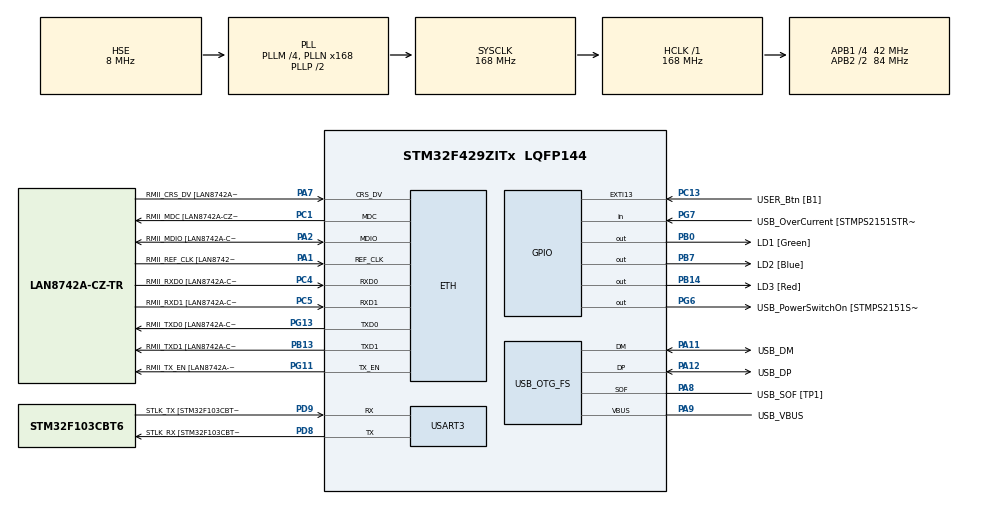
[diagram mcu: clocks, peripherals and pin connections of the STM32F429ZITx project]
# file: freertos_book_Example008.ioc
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ETH.MediaInterface=HAL_ETH_RMII_MODE
ETH.PHY_Name=LAN8742A_PHY_ADDRESS
ETH.PHY_Value=0
ETH.PhyAddress=0
FREERTOS.MEMORY_ALLOCATION=0
FREERTOS.Tasks01=defaultTask,0,128,StartDefaultTask,Default,NULL,Dynamic,NULL,NULL
FREERTOS.configTICK_RATE_HZ=1
FREERTOS.configUSE_NEWLIB_REENTRANT=1
Mcu.Family=STM32F4
Mcu.Name=STM32F429ZITx
Mcu.Package=LQFP144
NVIC.PriorityGroup=NVIC_PRIORITYGROUP_4
NVIC.TIM7_IRQn=true\:15\:0\:false\:false\:true\:false\:false\:true\:true
NVIC.TimeBase=TIM7_IRQn
NVIC.TimeBaseIP=TIM7
PA1.GPIO_Label=RMII_REF_CLK [LAN8742A-CZ-TR_REFCLK0]
PA1.Mode=RMII
PA1.Signal=ETH_REF_CLK
PA10.GPIO_Label=USB_ID
PA10.Signal=USB_OTG_FS_ID
PA11.GPIO_Label=USB_DM
PA11.Mode=Device_Only
PA11.Signal=USB_OTG_FS_DM
PA12.GPIO_Label=USB_DP
PA12.Mode=Device_Only
PA12.Signal=USB_OTG_FS_DP
PA13.GPIO_Label=TMS
PA13.Mode=Serial_Wire
PA13.Signal=SYS_JTMS-SWDIO
PA14.GPIO_Label=TCK
PA14.Mode=Serial_Wire
PA14.Signal=SYS_JTCK-SWCLK
PA2.GPIO_Label=RMII_MDIO [LAN8742A-CZ-TR_MDIO]
PA2.Mode=RMII
PA2.Signal=ETH_MDIO
PA7.GPIO_Label=RMII_CRS_DV [LAN8742A-CZ-TR_CRS_DV]
PA7.Mode=RMII
PA7.Signal=ETH_CRS_DV
PA8.GPIO_Label=USB_SOF [TP1]
PA8.Mode=Activate_SOF_FS
PA8.Signal=USB_OTG_FS_SOF
PA9.GPIO_Label=USB_VBUS
PA9.Mode=Activate_VBUS
PA9.Signal=USB_OTG_FS_VBUS
PB0.GPIO_Label=LD1 [Green]
PB0.Signal=GPIO_Output
PB13.GPIO_Label=RMII_TXD1 [LAN8742A-CZ-TR_TXD1]
PB13.Mode=RMII
PB13.Signal=ETH_TXD1
PB14.GPIO_Label=LD3 [Red]
PB14.Signal=GPIO_Output
PB7.GPIO_Label=LD2 [Blue]
PB7.Signal=GPIO_Output
PC1.GPIO_Label=RMII_MDC [LAN8742A-CZ-TR_MDC]
PC1.Mode=RMII
PC1.Signal=ETH_MDC
PC13.GPIO_Label=USER_Btn [B1]
PC13.Signal=GPXTI13
PC14/OSC32_IN.Mode=LSE-External-Oscillator
PC14/OSC32_IN.Signal=RCC_OSC32_IN
PC15/OSC32_OUT.Mode=LSE-External-Oscillator
PC15/OSC32_OUT.Signal=RCC_OSC32_OUT
PC4.GPIO_Label=RMII_RXD0 [LAN8742A-CZ-TR_RXD0]
PC4.Mode=RMII
PC4.Signal=ETH_RXD0
PC5.GPIO_Label=RMII_RXD1 [LAN8742A-CZ-TR_RXD1]
PC5.Mode=RMII
PC5.Signal=ETH_RXD1
PD8.GPIO_Label=STLK_RX [STM32F103CBT6_PA3]
PD8.Mode=Asynchronous
PD8.Signal=USART3_TX
PD9.GPIO_Label=STLK_TX [STM32F103CBT6_PA2]
PD9.Mode=Asynchronous
PD9.Signal=USART3_RX
PG11.GPIO_Label=RMII_TX_EN [LAN8742A-CZ-TR_TXEN]
PG11.Mode=RMII
PG11.Signal=ETH_TX_EN
PG13.GPIO_Label=RMII_TXD0 [LAN8742A-CZ-TR_TXD0]
PG13.Mode=RMII
PG13.Signal=ETH_TXD0
PG6.GPIO_Label=USB_PowerSwitchOn [STMPS2151STR_EN]
PG6.Signal=GPIO_Output
PG7.GPIO_Label=USB_OverCurrent [STMPS2151STR_FAULT]
PG7.Signal=GPIO_Input
PH0/OSC_IN.GPIO_Label=MCO [STM32F103CBT6_PA8]
PH0/OSC_IN.Mode=HSE-External-Clock-Source
PH0/OSC_IN.Signal=RCC_OSC_IN
PH1/OSC_OUT.Mode=HSE-External-Clock-Source
PH1/OSC_OUT.Signal=RCC_OSC_OUT
ProjectManager.HeapSize=0x200
ProjectManager.StackSize=0x400
ProjectManager.TargetToolchain=STM32CubeIDE
RCC.48MHZClocksFreq_Value=48000000
RCC.AHBFreq_Value=168000000
RCC.APB1CLKDivider=RCC_HCLK_DIV4
RCC.APB1Freq_Value=42000000
RCC.APB1TimFreq_Value=84000000
RCC.APB2CLKDivider=RCC_HCLK_DIV2
RCC.APB2Freq_Value=84000000
RCC.APB2TimCLKDivider=2
RCC.APB2TimFreq_Value=168000000
RCC.CortexFreq_Value=168000000
RCC.HCLKFreq_Value=168000000
RCC.HSE_VALUE=8000000
RCC.HSI_VALUE=16000000
RCC.PLLM=4
RCC.PLLMUL=RCC_PLL_MUL9
RCC.PLLN=168
RCC.PLLQ=7
RCC.PRESCALERUSB=RCC_USBCLKSOURCE_PLL_DIV1_5
RCC.SYSCLKFreq_VALUE=168000000
RCC.SYSCLKSource=RCC_SYSCLKSOURCE_PLLCLK
RCC.SYSCLKSourceVirtual=RCC_SYSCLKSOURCE_PLLCLK
RCC.USBFreq_Value=48000000
RCC.VCOOutputFreq_Value=336000000
USART3.VirtualMode=VM_ASYNC
USB_OTG_FS.VirtualMode=Device_Only
VP_FREERTOS_VS_CMSIS_V1.Mode=CMSIS_V1
VP_SYS_VS_tim7.Mode=TIM7
board=NUCLEO-F429ZI

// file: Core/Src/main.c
/* USER CODE BEGIN Header */
/**
  ******************************************************************************
  * @file           : main.c
  * @brief          : Main program body
  ******************************************************************************
  * @attention
  *
  * Copyright (c) 2022 STMicroelectronics.
  * All rights reserved.
  *
  * This software is licensed under terms that can be found in the LICENSE file
  * in the root directory of this software component.
  * If no LICENSE file comes with this software, it is provided AS-IS.
  *
  ******************************************************************************
  */
/* USER CODE END Header */
#include "main.h"
#include "string.h"
#include "cmsis_os.h"

/* USER CODE BEGIN Includes */
/* Standard includes. */
#include <stdio.h>
#include <stdlib.h>

/* Demo includes. */
#include "supportingFunctions.h"

/* USER CODE END Includes */

ETH_TxPacketConfig TxConfig;
ETH_DMADescTypeDef  DMARxDscrTab[ETH_RX_DESC_CNT]; /* Ethernet Rx DMA Descriptors */
ETH_DMADescTypeDef  DMATxDscrTab[ETH_TX_DESC_CNT]; /* Ethernet Tx DMA Descriptors */

ETH_HandleTypeDef heth;

UART_HandleTypeDef huart3;

PCD_HandleTypeDef hpcd_USB_OTG_FS;

osThreadId defaultTaskHandle;
/* USER CODE BEGIN PV */
TaskHandle_t xTask2Handle;

/* USER CODE END PV */

void SystemClock_Config(void);
static void MX_GPIO_Init(void);
static void MX_ETH_Init(void);
static void MX_USART3_UART_Init(void);
static void MX_USB_OTG_FS_PCD_Init(void);
void StartDefaultTask(void const * argument);

/* USER CODE BEGIN PFP */
void vTask1( void *pvParameters );
void vTask2( void *pvParameters );

/* USER CODE END PFP */

/* USER CODE BEGIN 0 */
extern void initialise_monitor_handles(void);
/* USER CODE END 0 */

int main(void)
{

  /* USER CODE BEGIN 1 */
	initialise_monitor_handles();
	const char *pcTextForMain = "freertos_book_Example008 is running: Changing task priorities\r\n\n";

  /* USER CODE END 1 */

  /* MCU Configuration--------------------------------------------------------*/

  /* Reset of all peripherals, Initializes the Flash interface and the Systick. */
  HAL_Init();

  /* Configure the system clock */
  SystemClock_Config();

  /* Initialize all configured peripherals */
  MX_GPIO_Init();
  MX_ETH_Init();
  MX_USART3_UART_Init();
  MX_USB_OTG_FS_PCD_Init();
  /* USER CODE BEGIN 2 */
	/* Print out the name of this Example. */
	vPrintString( pcTextForMain );

  /* USER CODE END 2 */

  /* Create the thread(s) */
  /* definition and creation of defaultTask */
  osThreadDef(defaultTask, StartDefaultTask, osPriorityNormal, 0, 128);
  defaultTaskHandle = osThreadCreate(osThread(defaultTask), NULL);

  /* USER CODE BEGIN RTOS_THREADS */
  /* add threads, ... */
	BaseType_t ret;

	/* Task 1 thread at priority 2 */
	ret = xTaskCreate( vTask1,						/* Pointer to the function thats implement the task. */
					   "Task 1",					/* Text name for the task. This is to facilitate debugging only. */
					   (2 * configMINIMAL_STACK_SIZE),	/* Stack depth in words. 				*/
					   NULL,						/* We are not using the task parameter.		*/
					   (tskIDLE_PRIORITY + 2UL),	/* This task will run at priority 2. 		*/
		               NULL );          	        /* We are not using the task handle. */

	/* Check the task was created successfully. */
	configASSERT( ret == pdPASS );

	/* Task 2 thread at priority 1 */
	ret = xTaskCreate( vTask2,						/* Pointer to the function thats implement the task. */
		  	  	  	   "Task 2",					/* Text name for the task. This is to facilitate debugging only. */
					   (2 * configMINIMAL_STACK_SIZE),	/* Stack depth in words. 				*/
					   NULL,						/* We are not using the task parameter.		*/
					   (tskIDLE_PRIORITY + 1UL),	/* This task will run at priority 1. 		*/
					   &xTask2Handle );				/* We are using a variable as task handle.	*/

	/* Check the task was created successfully. */
	configASSERT( ret == pdPASS );

  /* USER CODE END RTOS_THREADS */

  /* Start scheduler */
  osKernelStart();

  /* We should never get here as control is now taken by the scheduler */

  /* Infinite loop */
  while (1)
  {

  }
}

void SystemClock_Config(void)
{
  RCC_OscInitTypeDef RCC_OscInitStruct = {0};
  RCC_ClkInitTypeDef RCC_ClkInitStruct = {0};

  /** Configure the main internal regulator output voltage
  */
  __HAL_RCC_PWR_CLK_ENABLE();
  __HAL_PWR_VOLTAGESCALING_CONFIG(PWR_REGULATOR_VOLTAGE_SCALE1);

  /** Initializes the RCC Oscillators according to the specified parameters
  * in the RCC_OscInitTypeDef structure.
  */
  RCC_OscInitStruct.OscillatorType = RCC_OSCILLATORTYPE_HSE;
  RCC_OscInitStruct.HSEState = RCC_HSE_BYPASS;
  RCC_OscInitStruct.PLL.PLLState = RCC_PLL_ON;
  RCC_OscInitStruct.PLL.PLLSource = RCC_PLLSOURCE_HSE;
  RCC_OscInitStruct.PLL.PLLM = 4;
  RCC_OscInitStruct.PLL.PLLN = 168;
  RCC_OscInitStruct.PLL.PLLP = RCC_PLLP_DIV2;
  RCC_OscInitStruct.PLL.PLLQ = 7;
  if (HAL_RCC_OscConfig(&RCC_OscInitStruct) != HAL_OK)
  {
    Error_Handler();
  }

  /** Initializes the CPU, AHB and APB buses clocks
  */
  RCC_ClkInitStruct.ClockType = RCC_CLOCKTYPE_HCLK|RCC_CLOCKTYPE_SYSCLK
                              |RCC_CLOCKTYPE_PCLK1|RCC_CLOCKTYPE_PCLK2;
  RCC_ClkInitStruct.SYSCLKSource = RCC_SYSCLKSOURCE_PLLCLK;
  RCC_ClkInitStruct.AHBCLKDivider = RCC_SYSCLK_DIV1;
  RCC_ClkInitStruct.APB1CLKDivider = RCC_HCLK_DIV4;
  RCC_ClkInitStruct.APB2CLKDivider = RCC_HCLK_DIV2;

  if (HAL_RCC_ClockConfig(&RCC_ClkInitStruct, FLASH_LATENCY_5) != HAL_OK)
  {
    Error_Handler();
  }
}

static void MX_ETH_Init(void)
{

   static uint8_t MACAddr[6];

  heth.Instance = ETH;
  MACAddr[0] = 0x00;
  MACAddr[1] = 0x80;
  MACAddr[2] = 0xE1;
  MACAddr[3] = 0x00;
  MACAddr[4] = 0x00;
  MACAddr[5] = 0x00;
  heth.Init.MACAddr = &MACAddr[0];
  heth.Init.MediaInterface = HAL_ETH_RMII_MODE;
  heth.Init.TxDesc = DMATxDscrTab;
  heth.Init.RxDesc = DMARxDscrTab;
  heth.Init.RxBuffLen = 1524;

  if (HAL_ETH_Init(&heth) != HAL_OK)
  {
    Error_Handler();
  }

  memset(&TxConfig, 0 , sizeof(ETH_TxPacketConfig));
  TxConfig.Attributes = ETH_TX_PACKETS_FEATURES_CSUM | ETH_TX_PACKETS_FEATURES_CRCPAD;
  TxConfig.ChecksumCtrl = ETH_CHECKSUM_IPHDR_PAYLOAD_INSERT_PHDR_CALC;
  TxConfig.CRCPadCtrl = ETH_CRC_PAD_INSERT;

}

static void MX_USART3_UART_Init(void)
{

  huart3.Instance = USART3;
  huart3.Init.BaudRate = 115200;
  huart3.Init.WordLength = UART_WORDLENGTH_8B;
  huart3.Init.StopBits = UART_STOPBITS_1;
  huart3.Init.Parity = UART_PARITY_NONE;
  huart3.Init.Mode = UART_MODE_TX_RX;
  huart3.Init.HwFlowCtl = UART_HWCONTROL_NONE;
  huart3.Init.OverSampling = UART_OVERSAMPLING_16;
  if (HAL_UART_Init(&huart3) != HAL_OK)
  {
    Error_Handler();
  }

}

static void MX_USB_OTG_FS_PCD_Init(void)
{

  hpcd_USB_OTG_FS.Instance = USB_OTG_FS;
  hpcd_USB_OTG_FS.Init.dev_endpoints = 4;
  hpcd_USB_OTG_FS.Init.speed = PCD_SPEED_FULL;
  hpcd_USB_OTG_FS.Init.dma_enable = DISABLE;
  hpcd_USB_OTG_FS.Init.phy_itface = PCD_PHY_EMBEDDED;
  hpcd_USB_OTG_FS.Init.Sof_enable = ENABLE;
  hpcd_USB_OTG_FS.Init.low_power_enable = DISABLE;
  hpcd_USB_OTG_FS.Init.lpm_enable = DISABLE;
  hpcd_USB_OTG_FS.Init.vbus_sensing_enable = ENABLE;
  hpcd_USB_OTG_FS.Init.use_dedicated_ep1 = DISABLE;
  if (HAL_PCD_Init(&hpcd_USB_OTG_FS) != HAL_OK)
  {
    Error_Handler();
  }

}

static void MX_GPIO_Init(void)
{
  GPIO_InitTypeDef GPIO_InitStruct = {0};

  /* GPIO Ports Clock Enable */
  __HAL_RCC_GPIOC_CLK_ENABLE();
  __HAL_RCC_GPIOH_CLK_ENABLE();
  __HAL_RCC_GPIOA_CLK_ENABLE();
  __HAL_RCC_GPIOB_CLK_ENABLE();
  __HAL_RCC_GPIOD_CLK_ENABLE();
  __HAL_RCC_GPIOG_CLK_ENABLE();

  /*Configure GPIO pin Output Level */
  HAL_GPIO_WritePin(GPIOB, LD1_Pin|LD3_Pin|LD2_Pin, GPIO_PIN_RESET);

  /*Configure GPIO pin Output Level */
  HAL_GPIO_WritePin(USB_PowerSwitchOn_GPIO_Port, USB_PowerSwitchOn_Pin, GPIO_PIN_RESET);

  /*Configure GPIO pin : USER_Btn_Pin */
  GPIO_InitStruct.Pin = USER_Btn_Pin;
  GPIO_InitStruct.Mode = GPIO_MODE_IT_RISING;
  GPIO_InitStruct.Pull = GPIO_NOPULL;
  HAL_GPIO_Init(USER_Btn_GPIO_Port, &GPIO_InitStruct);

  /*Configure GPIO pins : LD1_Pin LD3_Pin LD2_Pin */
  GPIO_InitStruct.Pin = LD1_Pin|LD3_Pin|LD2_Pin;
  GPIO_InitStruct.Mode = GPIO_MODE_OUTPUT_PP;
  GPIO_InitStruct.Pull = GPIO_NOPULL;
  GPIO_InitStruct.Speed = GPIO_SPEED_FREQ_LOW;
  HAL_GPIO_Init(GPIOB, &GPIO_InitStruct);

  /*Configure GPIO pin : USB_PowerSwitchOn_Pin */
  GPIO_InitStruct.Pin = USB_PowerSwitchOn_Pin;
  GPIO_InitStruct.Mode = GPIO_MODE_OUTPUT_PP;
  GPIO_InitStruct.Pull = GPIO_NOPULL;
  GPIO_InitStruct.Speed = GPIO_SPEED_FREQ_LOW;
  HAL_GPIO_Init(USB_PowerSwitchOn_GPIO_Port, &GPIO_InitStruct);

  /*Configure GPIO pin : USB_OverCurrent_Pin */
  GPIO_InitStruct.Pin = USB_OverCurrent_Pin;
  GPIO_InitStruct.Mode = GPIO_MODE_INPUT;
  GPIO_InitStruct.Pull = GPIO_NOPULL;
  HAL_GPIO_Init(USB_OverCurrent_GPIO_Port, &GPIO_InitStruct);

}

/* USER CODE BEGIN 4 */

/* USER CODE BEGIN Header_vTask1 */
/**
  * @brief  Function implementing the Task1 thread.
  * @param  argument: Not used
  * @retval None
  */
/* USER CODE END Header_vTask1 */
void vTask1( void *pvParameters )
{
	UBaseType_t uxPriority;
	/* This task will always run before Task2 as it has the higher priority.
	   Neither Task1 nor Task2 ever block so both will always be in either the
	   Running or the Ready state.

	   Query the priority at which this task is running - passing in NULL means
	   "return our own priority". */
	uxPriority = uxTaskPriorityGet( NULL );

	for( ;; )
	{
		/* Print out the name of this task. */
		vPrintString( "Task1 is running\r\n" );

		/* Setting the Task2 priority above the Task1 priority will cause
	       Task2 to immediately start running (as then Task2 will have the higher
	       priority of the two created tasks). */
		vPrintString( "About to raise the Task2 priority\r\n" );
		vTaskPrioritySet( xTask2Handle, ( uxPriority + 1 ) );
		/* Task1 will only run when it has a priority higher than Task2.
	       Therefore, for this task to reach this point Task2 must already have
	       executed and set its priority back down to 0. */
	}
}

/* USER CODE BEGIN Header_vTask2 */
/**
* @brief Function implementing the Task2 thread.
* @param argument: Not used
* @retval None
*/
/* USER CODE END Header_vTask2 */
void vTask2( void *pvParameters )
{
	UBaseType_t  uxPriority;

	/* Task1 will always run before this task as Task1 has the higher priority.
	   Neither Task1 nor Task2 ever block so will always be in either the
	   Running or the Ready state.

	   Query the priority at which this task is running - passing in NULL means
	   "return our own priority". */
	uxPriority = uxTaskPriorityGet( NULL );

	for( ;; )
	{
		/* For this task to reach this point Task1 must have already run and
	       set the priority of this task higher than its own.

	       Print out the name of this task. */
		vPrintString( "Task2 is running\r\n" );

		/* Set our priority back down to its original value.  Passing in NULL
	       as the task handle means "change our own priority".  Setting the
	       priority below that of Task1 will cause Task1 to immediately start
	       running again. */
		vPrintString( "About to lower the Task2 priority\r\n" );
      	vTaskPrioritySet( NULL, ( uxPriority - 2 ) );
	}

}

/* USER CODE END 4 */

void StartDefaultTask(void const * argument)
{
  /* USER CODE BEGIN 5 */
  /* Infinite loop */
  for(;;)
  {
    osDelay(50000);
  }
  /* USER CODE END 5 */
}

void HAL_TIM_PeriodElapsedCallback(TIM_HandleTypeDef *htim)
{
  if (htim->Instance == TIM7) {
    HAL_IncTick();
  }
}

void Error_Handler(void)
{
  __disable_irq();
  while (1)
  {
  }
}
